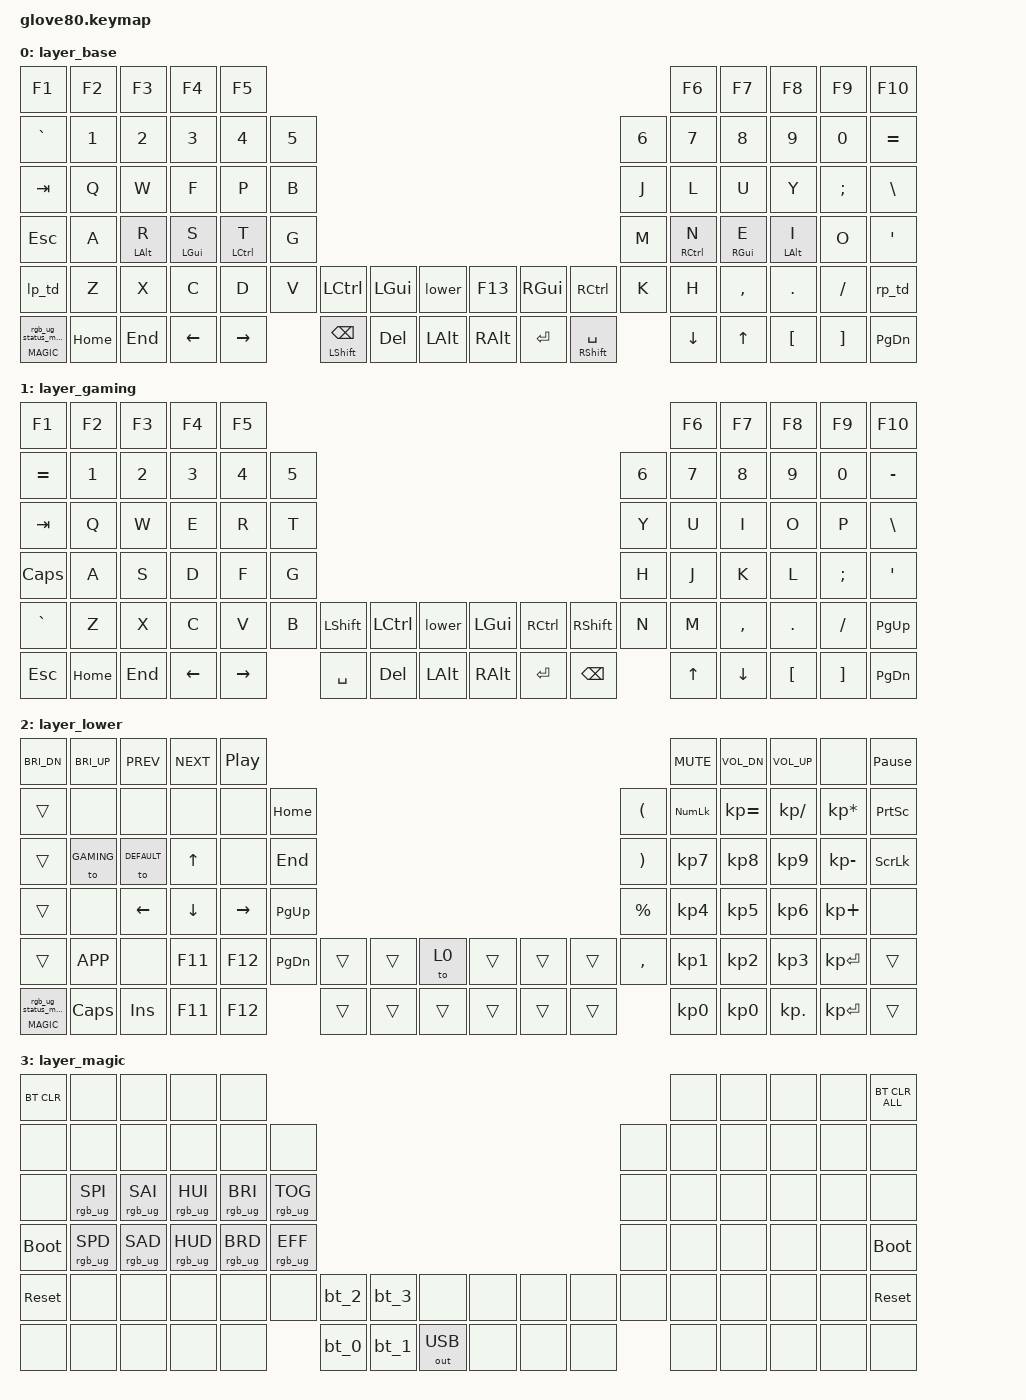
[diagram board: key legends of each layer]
#include <behaviors.dtsi>
#include <dt-bindings/zmk/keys.h>

#include <dt-bindings/zmk/bt.h>
#include <dt-bindings/zmk/rgb.h>
#include <dt-bindings/zmk/outputs.h>

// Layer aliases
// So, apparently the C preprocessor just straight-up runs, so we can do shit like this
#define DEFAULT 0
#define GAMING 1
#define LOWER 2
#define MAGIC 3

/ {
    /* Glove80 system behavior & macros */
    behaviors {
        // For the "layer" key, it'd nice to be able to use it as either a shift or a toggle.
        // Configure it as a tap dance, so the first tap (or hold) is a &mo and the second tap is a &to
        lower: tap_dance_0 {
            compatible = "zmk,behavior-tap-dance";
            label = "LAYER_TAP_DANCE";
            #binding-cells = <0>;
            tapping-term-ms = <200>;
            bindings = <&mo LOWER>, <&to LOWER>;
        };
        // Tap dance keys for left/right parentheses
        lp_td: l_paren_td {
            compatible = "zmk,behavior-tap-dance";
            label = "L_PAREN_TAP_DANCE";
            #binding-cells = <0>;
            tapping-term-ms = <200>;
            bindings = <&kp MINUS>, <&kp LPAR>;
        };
        rp_td: r_paren_td {
            compatible = "zmk,behavior-tap-dance";
            label = "R_PAREN_TAP_DANCE";
            #binding-cells = <0>;
            tapping-term-ms = <200>;
            bindings = <&kp PG_UP>, <&kp RPAR>;
        };
        // Shift mod-tap
        smt: shift_mod_tap {
            compatible = "zmk,behavior-hold-tap";
            label = "SHIFT_MOD_TAP";
            #binding-cells = <2>;
            flavor = "tap-preferred";
            tapping-term-ms = <150>;
            quick-tap-ms = <125>;
            bindings = <&kp>, <&kp>;
            retro-tap;
        };
        // Homerow mods 
        hrm: homerow_mods {
            compatible = "zmk,behavior-hold-tap";
            label = "HOMEROW_MODS";
            #binding-cells = <2>;
            flavor = "tap-preferred";
            tapping-term-ms = <175>;
            quick-tap-ms = <125>;
            global-quick-tap;
            bindings = <&kp>, <&kp>;
        };
    };

    macros {
        rgb_ug_status_macro: rgb_ug_status_macro_0 {
            label = "RGB_UG_STATUS";
            compatible = "zmk,behavior-macro";
            #binding-cells = <0>;
            bindings
                = <&rgb_ug RGB_STATUS>;
        };

        bt_0: bt_profile_macro_0 {
            label = "BT_0";
            compatible = "zmk,behavior-macro";
            #binding-cells = <0>;
            bindings
                = <&out OUT_BLE>,
                  <&bt BT_SEL 0>;
        };

        bt_1: bt_profile_macro_1 {
            label = "BT_1";
            compatible = "zmk,behavior-macro";
            #binding-cells = <0>;
            bindings
                = <&out OUT_BLE>,
                  <&bt BT_SEL 1>;
        };

        bt_2: bt_profile_macro_2 {
            label = "BT_2";
            compatible = "zmk,behavior-macro";
            #binding-cells = <0>;
            bindings
                = <&out OUT_BLE>,
                  <&bt BT_SEL 2>;
        };

        bt_3: bt_profile_macro_3 {
            label = "BT_3";
            compatible = "zmk,behavior-macro";
            #binding-cells = <0>;
            bindings
                = <&out OUT_BLE>,
                  <&bt BT_SEL 3>;
        };
    };

    magic: magic_hold_tap {
        compatible = "zmk,behavior-hold-tap";
        label = "MAGIC_HOLD_TAP";
        #binding-cells = <2>;
        flavor = "tap-preferred";
        tapping-term-ms = <200>;
        bindings = <&mo>, <&rgb_ug_status_macro>;
    };

    keymap {
        compatible = "zmk,keymap";

        layer_base {
            bindings = <
&kp F1         &kp F2   &kp F3      &kp F4      &kp F5                                                                                          &kp F6       &kp F7      &kp F8      &kp F9   &kp F10
&kp GRAVE      &kp N1   &kp N2      &kp N3      &kp N4       &kp N5                                                                      &kp N6 &kp N7       &kp N8      &kp N9      &kp N0   &kp EQUAL
&kp TAB        &kp Q    &kp W       &kp F       &kp P        &kp B                                                                       &kp J  &kp L        &kp U       &kp Y       &kp SEMI &kp BSLH
&kp ESC        &kp A    &hrm LALT R &hrm LGUI S &hrm LCTRL T &kp G                                                                       &kp M  &hrm RCTRL N &hrm RGUI E &hrm LALT I &kp O    &kp SQT
&lp_td         &kp Z    &kp X       &kp C       &kp D        &kp V  &kp  LCTRL      &kp LGUI &lower   &kp F13  &kp RGUI &kp RCTRL        &kp K  &kp H        &kp COMMA   &kp DOT     &kp FSLH &rp_td
&magic MAGIC 0 &kp HOME &kp END     &kp LEFT    &kp RIGHT           &smt LSHFT BSPC &kp DEL  &kp LALT &kp RALT &kp RET  &smt RSHFT SPACE        &kp DOWN     &kp UP      &kp LBKT    &kp RBKT &kp PG_DN
            >;
        };

        layer_gaming {
            bindings = <
&kp F1         &kp F2   &kp F3  &kp F4   &kp F5                                                                            &kp F6 &kp F7    &kp F8   &kp F9   &kp F10
&kp EQUAL      &kp N1   &kp N2  &kp N3   &kp N4    &kp N5                                                           &kp N6 &kp N7 &kp N8    &kp N9   &kp N0   &kp MINUS
&kp TAB        &kp Q    &kp W   &kp E    &kp R     &kp T                                                            &kp Y  &kp U  &kp I     &kp O    &kp P    &kp BSLH
&kp CAPS       &kp A    &kp S   &kp D    &kp F     &kp G                                                            &kp H  &kp J  &kp K     &kp L    &kp SEMI &kp SQT
&kp GRAVE      &kp Z    &kp X   &kp C    &kp V     &kp B  &kp LSHFT &kp LCTRL &lower   &kp LGUI &kp RCTRL &kp RSHFT &kp N  &kp M  &kp COMMA &kp DOT  &kp FSLH &kp PG_UP
&kp ESC        &kp HOME &kp END &kp LEFT &kp RIGHT        &kp SPACE &kp DEL   &kp LALT &kp RALT &kp RET   &kp BSPC  &kp UP &kp DOWN  &kp LBKT &kp RBKT &kp PG_DN
            >;
        };
        
        layer_lower {
            bindings = < 
&kp C_BRI_DN   &kp C_BRI_UP &kp C_PREV     &kp C_NEXT     &kp C_PP                                                                                  &kp C_MUTE &kp C_VOL_DN &kp C_VOL_UP &none           &kp PAUSE_BREAK
&trans         &none        &none          &none          &none           &kp HOME                                            &kp LEFT_PARENTHESIS  &kp KP_NUM &kp KP_EQUAL &kp KP_SLASH &kp KP_MULTIPLY &kp PRINTSCREEN
&trans         &to GAMING   &to DEFAULT    &kp UP_ARROW   &none           &kp END                                             &kp RIGHT_PARENTHESIS &kp KP_N7  &kp KP_N8    &kp KP_N9    &kp KP_MINUS    &kp SCROLLLOCK
&trans         &none        &kp LEFT_ARROW &kp DOWN_ARROW &kp RIGHT_ARROW &kp PG_UP                                           &kp PERCENT           &kp KP_N4  &kp KP_N5    &kp KP_N6    &kp KP_PLUS     &none
&trans         &kp K_APP    &none          &kp F11        &kp F12         &kp PG_DN &trans &trans &to 0  &trans &trans &trans &kp COMMA             &kp KP_N1  &kp KP_N2    &kp KP_N3    &kp KP_ENTER    &trans
&magic MAGIC 0 &kp CAPS     &kp INS        &kp F11        &kp F12                   &trans &trans &trans &trans &trans &trans                       &kp KP_N0  &kp KP_N0    &kp KP_DOT   &kp KP_ENTER    &trans
            >;
        };

        layer_magic {
            bindings = <
 &bt BT_CLR  &none           &none           &none           &none                                                                            &none &none &none &none &bt BT_CLR_ALL
 &none       &none           &none           &none           &none           &none                                                      &none &none &none &none &none &none
 &none       &rgb_ug RGB_SPI &rgb_ug RGB_SAI &rgb_ug RGB_HUI &rgb_ug RGB_BRI &rgb_ug RGB_TOG                                            &none &none &none &none &none &none
 &bootloader &rgb_ug RGB_SPD &rgb_ug RGB_SAD &rgb_ug RGB_HUD &rgb_ug RGB_BRD &rgb_ug RGB_EFF                                            &none &none &none &none &none &bootloader
 &sys_reset  &none           &none           &none           &none           &none           &bt_2 &bt_3 &none        &none &none &none &none &none &none &none &none &sys_reset
 &none       &none           &none           &none           &none                           &bt_0 &bt_1 &out OUT_USB &none &none &none       &none &none &none &none &none
            >;
        };
    };
};
